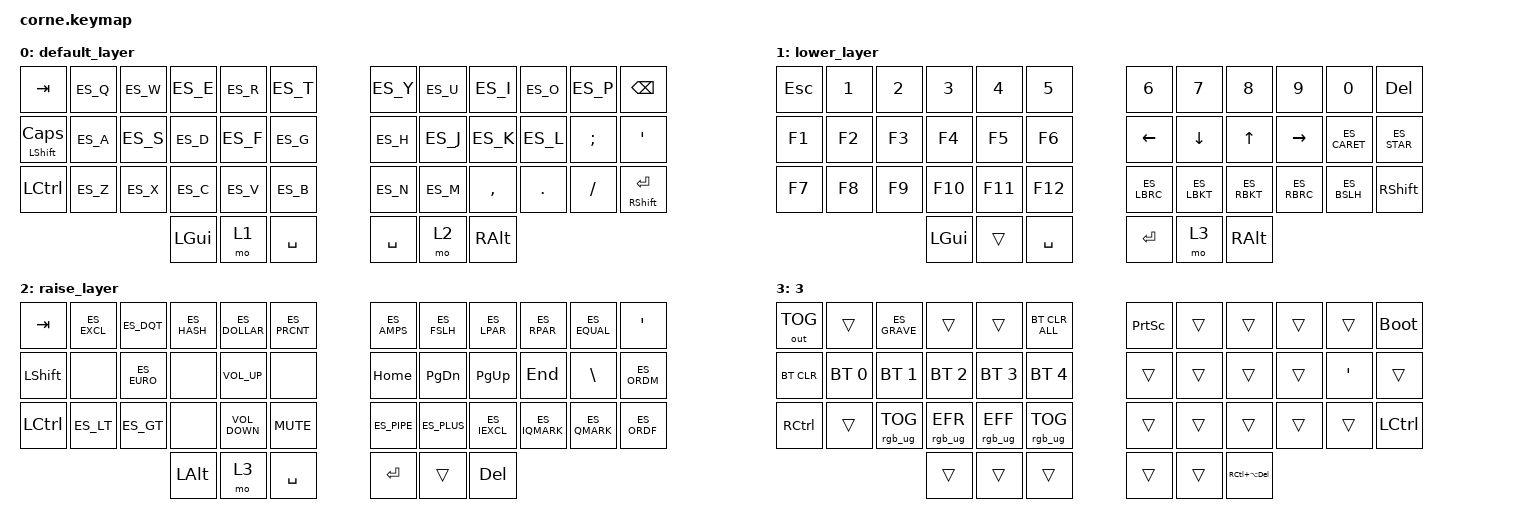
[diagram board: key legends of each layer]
/*
 * Copyright (c) 2020 The ZMK Contributors
 *
 * SPDX-License-Identifier: MIT
 */
//  Archivo creado para el teclado Corne modificado mediante nice-nano v2 de aliespress

#include <dt-bindings/zmk/mouse.h>
#include "keys_es.h"
#include <behaviors.dtsi>
#include <dt-bindings/zmk/bt.h>
#include <dt-bindings/zmk/keys.h>
#include <dt-bindings/zmk/outputs.h>
#include <dt-bindings/zmk/rgb.h>

#define ES_CARET (LS(ZMK_HID_USAGE(HID_USAGE_KEY, HID_USAGE_KEY_KEYBOARD_LEFT_BRACKET_AND_LEFT_BRACE)))
#define CAPS CAPSLOCK
#define LSHFT LEFT_SHIFT

/ {
    keymap {
        compatible = "zmk,keymap";

        default_layer {
            // -----------------------------------------------------------------------------------------
            // |  TAB        |  Q  |  W  |  E  |  R  |  T  |        |  Y  |  U   |  I  |  O  |  P  | BKSP |
            // | LSHIFT/CAPS |  A  |  S  |  D  |  F  |  G  |        |  H  |  J   |  K  |  L  |  ;  |  ´   |
            // | LCTRL       |  Z  |  X  |  C  |  V  |  B  |        |  N  |  M   |  ,  |  .  |  -  | ENT  |
            //                              | GUI | LWR | SPC |  | SPC | RSE  | RALT |

            bindings = <
&kp TAB         &kp ES_Q  &kp ES_W  &kp ES_E  &kp ES_R  &kp ES_T     &kp ES_Y   &kp ES_U  &kp ES_I   &kp ES_O  &kp ES_P  &kp BSPC
&mt LSHFT CAPS  &kp ES_A  &kp ES_S  &kp ES_D  &kp ES_F  &kp ES_G     &kp ES_H   &kp ES_J  &kp ES_K   &kp ES_L  &kp SEMI  &kp SQT
&kp LCTRL       &kp ES_Z  &kp ES_X  &kp ES_C  &kp ES_V  &kp ES_B     &kp ES_N   &kp ES_M  &kp COMMA  &kp DOT   &kp FSLH  &mt RIGHT_SHIFT ENTER
                                    &kp LGUI  &mo 1     &kp SPACE    &kp SPACE  &mo 2     &kp RALT
            >;
        };

        lower_layer {
            // -----------------------------------------------------------------------------------------
            // | ESC |  1  |  2  |  3  |  4  |  5  |         |  6  |  7  |  8  |  9  |  0  |  DEL |
            // |  F1 |  F2 |  F3 |  F4 |  F5 |  F6 |         | LFT | DWN |  UP | RGT |  ^  |   *  |
            // |  F7 |  F8 |  F9 | F10 | F11 | F12 |         |  {  |  [  |  ]  |  }  |  \  | RSHIFT |
            //                     | GUI |     | SPC |     | ENT | MO3 | ALT |

            bindings = <
&kp ESCAPE  &kp N1  &kp N2  &kp N3    &kp N4   &kp N5       &kp N6       &kp N7       &kp N8       &kp N9       &kp N0        &kp DEL
&kp F1      &kp F2  &kp F3  &kp F4    &kp F5   &kp F6       &kp LEFT     &kp DOWN     &kp UP       &kp RIGHT    &kp ES_CARET  &kp ES_STAR
&kp F7      &kp F8  &kp F9  &kp F10   &kp F11  &kp F12      &kp ES_LBRC  &kp ES_LBKT  &kp ES_RBKT  &kp ES_RBRC  &kp ES_BSLH   &kp RIGHT_SHIFT
                            &kp LGUI  &trans   &kp SPACE    &kp RET      &mo 3        &kp RALT
            >;
        };

        raise_layer {
            // -----------------------------------------------------------------------------------------
            // |  TAB  |  !  |  @  |  #  |  $  |  %  |       |   &  |   /   |   (   |  )  |  =  | BKSP |
            // | LSHFT |     |  €  |     |     |     |       | HOME | PG-DN | PG_UP | END |  ç  |  º   |
            // | LCTRL |  <  |  >  | VLM-| VLM+| MTE |       | "|"  |   +   |   ¡   |  ¿  |  ?  |  ª   |
            //                       | lAlt |     | SPC |   | ENT |     | ALT |

            bindings = <
&kp TAB    &kp ES_EXCL  &kp ES_DQT   &kp ES_HASH   &kp ES_DOLLAR      &kp ES_PRCNT    &kp ES_AMPS  &kp ES_FSLH    &kp ES_LPAR   &kp ES_RPAR    &kp ES_EQUAL  &kp SQT
&kp LSHFT  &none        &kp ES_EURO  &none         &kp K_VOLUME_UP    &none           &kp HOME     &kp PAGE_DOWN  &kp PG_UP     &kp END        &kp BSLH      &kp ES_ORDM
&kp LCTRL  &kp ES_LT    &kp ES_GT    &none         &kp K_VOLUME_DOWN  &kp C_MUTE      &kp ES_PIPE  &kp ES_PLUS    &kp ES_IEXCL  &kp ES_IQMARK  &kp ES_QMARK  &kp ES_ORDF
                                     &kp LEFT_ALT  &mo 3              &kp SPACE       &kp RET      &trans         &kp DEL
            >;
        };

        //  Añado ES_GRAVE, para añadir el acento invertido.

        bluethooth {
            bindings = <
&out OUT_TOG  &trans        &kp ES_GRAVE     &trans           &trans           &bt BT_CLR_ALL     &kp PRINTSCREEN  &trans  &trans           &trans  &trans          &bootloader
&bt BT_CLR    &bt BT_SEL 0  &bt BT_SEL 1     &bt BT_SEL 2     &bt BT_SEL 3     &bt BT_SEL 4       &trans           &trans  &trans           &trans  &kp APOSTROPHE  &trans
&kp RCTRL     &trans        &rgb_ug RGB_TOG  &rgb_ug RGB_EFR  &rgb_ug RGB_EFF  &rgb_ug RGB_TOG    &trans           &trans  &trans           &trans  &trans          &kp LCTRL
                                             &trans           &trans           &trans             &trans           &trans  &kp RC(LA(DEL))
            >;

            label = "3";
        };
    };
};
